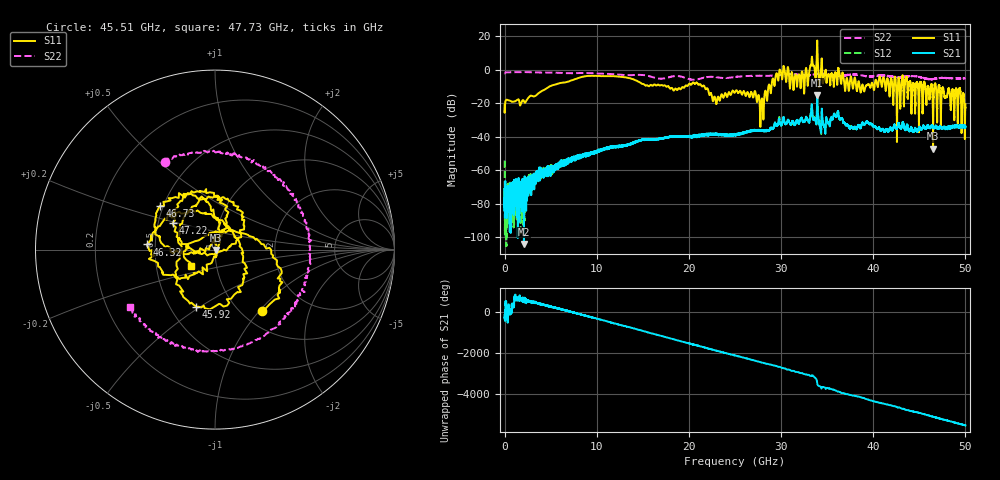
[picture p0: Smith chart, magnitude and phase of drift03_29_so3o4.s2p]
!Created with skrf (http://scikit-rf.org).
# Hz S RI R 50.0
!freq ReS11 ImS11 ReS21 ImS21 ReS12 ImS12 ReS22 ImS22
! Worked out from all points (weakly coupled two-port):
!   10001 points, 300 kHz to 50 GHz, reference 50 ohm
!   highest |S21| = -15.30 dB at 33.92 GHz (marker M1); lowest = -104.1 dB at 2.095 GHz (marker M2)
!   lowest |S11| = -47.0 dB at 46.5 GHz (marker M3), VSWR 1.01, Z = 50.4 - j0.247 ohm
!   |S11| at or under -10 dB: start of sweep to 4.849 GHz; 21.69 GHz to 28.62 GHz (6.932 GHz wide, 27.6 % of centre); 47.2 GHz to end of sweep (the widest 3 of 44)
!   |S22| runs from -5.9 to -1.3 dB; largest |S21 - S12| = 0.018
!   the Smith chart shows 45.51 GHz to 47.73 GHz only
!   S11 on the Smith chart (normalised r, x): 45.51 GHz: 1.22, -1.03; 45.92 GHz: 0.67, -0.48; 46.32 GHz: 0.45, +0.03; 46.73 GHz: 0.48, +0.28; 47.22 GHz: 0.60, +0.19; 47.73 GHz: 0.76, -0.14
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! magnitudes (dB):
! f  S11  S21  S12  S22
! 300 kHz  -21.1  -76.8  -54.2  -2.1
! 280.3 MHz  -17.9  -73.6  -81.8  -1.4
! 2.095 GHz  -18.6  -104.1  -72.1  -1.3
! 8.335 GHz  -4.3  -51.3  -51.1  -1.9
! 16.67 GHz  -8.8  -41.2  -41.4  -5.2
! 22.81 GHz  -16.1  -38.2  -38.6  -4.3
! 25 GHz  -13.4  -38.6  -38.9  -4.3
! 27.91 GHz  -17.2  -36.3  -36.2  -3.5
! 29.69 GHz  -6.4  -32.2  -31.6  -3.1
! 32.32 GHz  -1.5  -30.6  -30.6  -3.3
! 33.34 GHz  7.9  -20.4  -20.8  -2.9
! 33.92 GHz  17.6  -15.3  -15.5  -2.5
! 38.82 GHz  -8.9  -31.6  -31.7  -3.4
! 41.67 GHz  -9.1  -36.8  -36.7  -3.7
! 45.51 GHz  -7.3  -33.9  -33.8  -5.0
! 45.92 GHz  -9.5  -33.5  -33.5  -5.4
! 46.32 GHz  -8.4  -33.3  -33.4  -5.5
! 46.5 GHz  -47.0  -34.4  -34.4  -5.4
! 46.73 GHz  -8.1  -34.1  -34.5  -5.3
! 47.22 GHz  -11.1  -34.2  -34.1  -4.9
! 47.73 GHz  -15.9  -34.1  -34.2  -4.8
! 50 GHz  -20.6  -34.2  -33.9  -5.0
